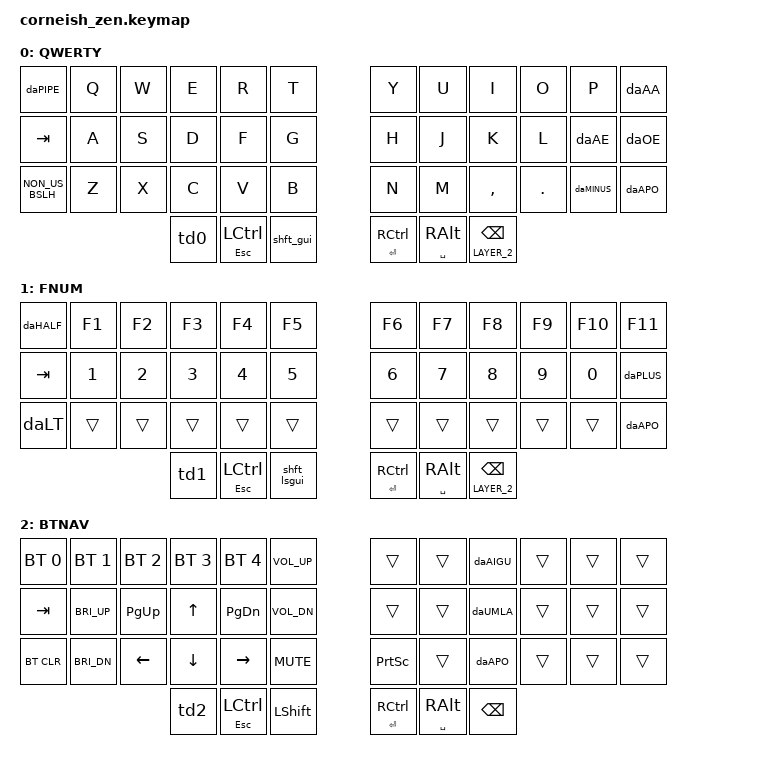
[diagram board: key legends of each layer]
/*
*
* Based on the original layout by Darryl deHaan
* Copyright (c) 2021 Darryl deHaan
* SPDX-License-Identifier: MIT
*
* Modified by Thomas E. Hansen (CodingCellist)
* Changes licensed under GPLv2
* Copyright (C) 2023 Thomas E. Hansen (CodingCellist)
* SPDX-License-Identifier: GPL-2.0
*
*/

#include <behaviors.dtsi>
#include "da.dtsi"
#include <dt-bindings/zmk/keys.h>
#include <dt-bindings/zmk/bt.h>

// LAYERS //

#define DEFAULT   0
#define LAYER_1   1
#define LAYER_2   2


// ZMK STUFF //

/ {
  chosen {
    zmk,matrix_transform = &default_transform;
    //zmk,matrix_transform = &five_column_transform;
  };
};


/ {
        // NEXT and PREV are defined as tap-dances, with one (1) tap meaning
        // "next layer" and two (2) taps meaning "previous layer". This is
        // similar to how some music players do single-button operation.
        // N.B.: care must be taken to make sure the NEXT and PREV mappings go
        // to the right layers and that they wrap around at the top and bottom
        // layers respectively. Additionaly, one must be careful to reference
        // the right tap-dances in their respective layers.
        behaviors {
            td0: tap_dance_0 {
                    compatible = "zmk,behavior-tap-dance";
                    label = "TD_LAYER_0";
                    #binding-cells= <0>;
                    tapping-term-ms = <200>;
                    bindings = <&to LAYER_1>, <&to LAYER_2>;
                    //         ^ NEXT         ^ PREV
            };

            td1: tap_dance_1 {
                    compatible = "zmk,behavior-tap-dance";
                    label = "TD_LAYER_1";
                    #binding-cells= <0>;
                    tapping-term-ms = <200>;
                    bindings = <&to LAYER_2>, <&to DEFAULT>;
                    //         ^ NEXT         ^ PREV
            };

            td2: tap_dance_2 {
                    compatible = "zmk,behavior-tap-dance";
                    label = "TD_LAYER_2";
                    #binding-cells= <0>;
                    tapping-term-ms = <200>;
                    bindings = <&to DEFAULT>, <&to 1>;
                    //         ^ NEXT         ^ PREV
            };

            shft_gui: td_lshft_lgui {
                    compatible = "zmk,behavior-tap-dance";
                    label = "TD_LSHFT_LGUI";
                    #binding-cells= <0>;
                    tapping-term-ms = <200>;
                    bindings = <&kp LSHFT>, <&kp LGUI>;
            };

            shft_lsgui: td_lshft_lsgui {
                    compatible = "zmk,behavior-tap-dance";
                    label = "TD_LSHFT_LSLGUI";
                    #binding-cells= <0>;
                    tapping-term-ms = <200>;
                    bindings = <&kp LSHFT>, <&kp LS(LGUI)>;
            };
        };

        keymap {
                compatible = "zmk,keymap";

                default_layer {
                        label = "QWERTY";
// -----------------------------------------------------------------------------------------
// | '|' |  Q  |  W  |  E  |  R  |  T  |   |  Y  |  U  |  I  |  O  |  P  |  Å  |
// | TAB |  A  |  S  |  D  |  F  |  G  |   |  H  |  J  |  K  |  L  |  Æ  |  Ø  |
// |  <  |  Z  |  X  |  C  |  V  |  B  |   |  N  |  M  |  ,  |  .  |  -  |  '  |
//              | NEXT |   ESC | LSHFT |   | ENTER | SPACE | BSPC |
//              | PREV | LCRTL |  LGUI |   | RCTRL | ALTGR | NAV  |
                        bindings = <
   &kp daPIPE &kp Q &kp W &kp E &kp R &kp T    &kp Y &kp U  &kp I     &kp O   &kp P       &kp daAA
   &kp TAB    &kp A &kp S &kp D &kp F &kp G    &kp H &kp J  &kp K     &kp L   &kp daAE    &kp daOE
   &kp NON_US_BSLH   &kp Z &kp X &kp C &kp V &kp B    &kp N &kp M  &kp COMMA &kp DOT &kp daMINUS &kp daAPO
             &td0  &mt ESC LCTRL  &shft_gui    &mt ENTER RCTRL  &mt SPACE RALT  &lt LAYER_2 BSPC
                        >;
                };

                layer_1 {
                        label = "FNUM";
// -----------------------------------------------------------------------------------------
// | '½' |  F1 |  F2 |  F3 |  F4 |  F5 |   |  F6 |  F7 |  F8 |  F9 | F10 | F11 |
// | TAB |  1  |  2  |  3  |  4  |  5  |   |  6  |  7  |  8  |  9  |  0  |  +  |
// |  <  |     |     |     |     |     |   |     |     |     |     |     |  '  |
//           | NEXT |   ESC |    LSHFT |   | ENTER | SPACE | BSPC |
//           | PREV | LCRTL | LS(LGUI) |   | RCTRL | ALTGR | NAV  |
                        bindings = <
   &kp daHALF  &kp F1  &kp F2  &kp F3  &kp F4  &kp F5    &kp F6  &kp F7  &kp F8  &kp F9  &kp F10 &kp F11
   &kp TAB     &kp N1  &kp N2  &kp N3  &kp N4  &kp N5    &kp N6  &kp N7  &kp N8  &kp N9  &kp N0  &kp daPLUS
   &kp daLT    &trans  &trans  &trans  &trans  &trans    &trans  &trans  &trans  &trans  &trans  &kp daAPO
                     &td1  &mt ESC LCTRL  &shft_lsgui    &mt ENTER RCTRL  &mt SPACE RALT  &lt LAYER_2 BSPC
                        >;
                };

                layer_2 {
                        label = "BTNAV";
// -----------------------------------------------------------------------------------------
// |  BT1 | BT2 | BT3 | BT4 | BT5 | VOL+ |   |       |     |  ́   |     |     |     |
// |  TAB | BL+ | PGU |  ↑  | PGD | VOL- |   |       |     |  ̈   |     |     |     |
// | BTCLR| BL- |  ←  |  ↓  |  →  | MUTE |   | PRTSC |     |  '  |     |     |     |
//                | NEXT |   ESC | LSHFT |   | ENT   | SPC   | BSPC |
//                | PREV | LCRTL |       |   | RCTRL | ALTGR |      |
                        bindings = <
   &bt BT_SEL 0 &bt BT_SEL 1 &bt BT_SEL 2 &bt BT_SEL 3 &bt BT_SEL 4 &kp C_VOL_UP    &trans    &trans &kp daAIGU &trans &trans &trans
   &kp TAB      &kp C_BRI_UP &kp PG_UP    &kp UP       &kp PG_DN    &kp C_VOL_DN    &trans    &trans &kp daUMLA &trans &trans &trans
   &bt BT_CLR   &kp C_BRI_DN &kp LEFT     &kp DOWN     &kp RIGHT    &kp C_MUTE      &kp PSCRN &trans &kp daAPO  &trans &trans &trans
                                                  &td2  &mt ESC LCTRL  &kp LSHFT    &mt ENTER RCTRL  &mt SPACE RALT  &kp BSPC
                        >;
                };

        };
};

